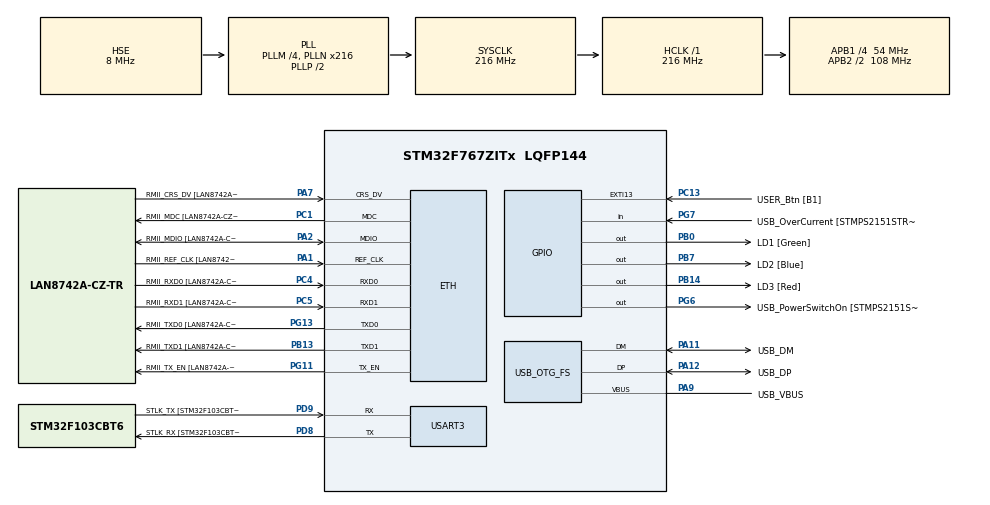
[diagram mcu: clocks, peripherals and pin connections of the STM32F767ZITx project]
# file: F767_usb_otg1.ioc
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ETH.MediaInterface=HAL_ETH_RMII_MODE
ETH.PHY_Name=LAN8742A_PHY_ADDRESS
ETH.PHY_Value=0
ETH.PhyAddress=0
FATFS._MAX_SS=4096
FREERTOS.Tasks01=defaultTask,0,512,StartDefaultTask,Default,NULL,Static,defaultTaskBuffer,defaultTaskControlBlock;myTask02,-3,512,StartTask02,Default,NULL,Static,myTask02Buffer,myTask02ControlBlock
FREERTOS.configUSE_NEWLIB_REENTRANT=1
Mcu.Family=STM32F7
Mcu.Name=STM32F767ZITx
Mcu.Package=LQFP144
NVIC.OTG_FS_IRQn=true\:5\:0\:false\:false\:true\:true\:false\:true\:true
NVIC.PriorityGroup=NVIC_PRIORITYGROUP_4
NVIC.TIM6_DAC_IRQn=true\:15\:0\:false\:false\:true\:false\:false\:true\:true
NVIC.TimeBase=TIM6_DAC_IRQn
NVIC.TimeBaseIP=TIM6
PA1.GPIO_Label=RMII_REF_CLK [LAN8742A-CZ-TR_REFCLK0]
PA1.Mode=RMII
PA1.Signal=ETH_REF_CLK
PA10.GPIO_Label=USB_ID
PA10.Signal=USB_OTG_FS_ID
PA11.GPIO_Label=USB_DM
PA11.Mode=Host_Only
PA11.Signal=USB_OTG_FS_DM
PA12.GPIO_Label=USB_DP
PA12.Mode=Host_Only
PA12.Signal=USB_OTG_FS_DP
PA13.GPIO_Label=TMS
PA13.Mode=Trace_Asynchronous_SW
PA13.Signal=SYS_JTMS-SWDIO
PA14.GPIO_Label=TCK
PA14.Mode=Trace_Asynchronous_SW
PA14.Signal=SYS_JTCK-SWCLK
PA2.GPIO_Label=RMII_MDIO [LAN8742A-CZ-TR_MDIO]
PA2.Mode=RMII
PA2.Signal=ETH_MDIO
PA7.GPIO_Label=RMII_CRS_DV [LAN8742A-CZ-TR_CRS_DV]
PA7.Mode=RMII
PA7.Signal=ETH_CRS_DV
PA8.GPIO_Label=USB_SOF [TP1]
PA8.Signal=USB_OTG_FS_SOF
PA9.GPIO_Label=USB_VBUS
PA9.Mode=Activate_VBUS
PA9.Signal=USB_OTG_FS_VBUS
PB0.GPIO_Label=LD1 [Green]
PB0.Signal=GPIO_Output
PB13.GPIO_Label=RMII_TXD1 [LAN8742A-CZ-TR_TXD1]
PB13.Mode=RMII
PB13.Signal=ETH_TXD1
PB14.GPIO_Label=LD3 [Red]
PB14.Signal=GPIO_Output
PB3.GPIO_Label=SWO
PB3.Mode=Trace_Asynchronous_SW
PB3.Signal=SYS_JTDO-SWO
PB7.GPIO_Label=LD2 [Blue]
PB7.Signal=GPIO_Output
PC1.GPIO_Label=RMII_MDC [LAN8742A-CZ-TR_MDC]
PC1.Mode=RMII
PC1.Signal=ETH_MDC
PC13.GPIO_Label=USER_Btn [B1]
PC13.Signal=GPXTI13
PC14/OSC32_IN.Mode=LSE-External-Oscillator
PC14/OSC32_IN.Signal=RCC_OSC32_IN
PC15/OSC32_OUT.Mode=LSE-External-Oscillator
PC15/OSC32_OUT.Signal=RCC_OSC32_OUT
PC4.GPIO_Label=RMII_RXD0 [LAN8742A-CZ-TR_RXD0]
PC4.Mode=RMII
PC4.Signal=ETH_RXD0
PC5.GPIO_Label=RMII_RXD1 [LAN8742A-CZ-TR_RXD1]
PC5.Mode=RMII
PC5.Signal=ETH_RXD1
PD8.GPIO_Label=STLK_RX [STM32F103CBT6_PA3]
PD8.Mode=Asynchronous
PD8.Signal=USART3_TX
PD9.GPIO_Label=STLK_TX [STM32F103CBT6_PA2]
PD9.Mode=Asynchronous
PD9.Signal=USART3_RX
PG11.GPIO_Label=RMII_TX_EN [LAN8742A-CZ-TR_TXEN]
PG11.Mode=RMII
PG11.Signal=ETH_TX_EN
PG13.GPIO_Label=RMII_TXD0 [LAN8742A-CZ-TR_TXD0]
PG13.Mode=RMII
PG13.Signal=ETH_TXD0
PG6.GPIO_Label=USB_PowerSwitchOn [STMPS2151STR_EN]
PG6.Signal=GPIO_Output
PG7.GPIO_Label=USB_OverCurrent [STMPS2151STR_FAULT]
PG7.Signal=GPIO_Input
PH0/OSC_IN.GPIO_Label=MCO [STM32F103CBT6_PA8]
PH0/OSC_IN.Mode=HSE-External-Oscillator
PH0/OSC_IN.Signal=RCC_OSC_IN
PH1/OSC_OUT.Mode=HSE-External-Oscillator
PH1/OSC_OUT.Signal=RCC_OSC_OUT
ProjectManager.HeapSize=0x200
ProjectManager.StackSize=0x400
ProjectManager.TargetToolchain=STM32CubeIDE
RCC.48MHZClocksFreq_Value=24000000
RCC.AHBFreq_Value=216000000
RCC.APB1CLKDivider=RCC_HCLK_DIV4
RCC.APB1Freq_Value=54000000
RCC.APB1TimFreq_Value=108000000
RCC.APB2CLKDivider=RCC_HCLK_DIV2
RCC.APB2Freq_Value=108000000
RCC.APB2TimFreq_Value=216000000
RCC.CortexFreq_Value=216000000
RCC.HCLKFreq_Value=216000000
RCC.HSE_VALUE=8000000
RCC.HSI_VALUE=16000000
RCC.PLLM=4
RCC.PLLMUL=RCC_PLL_MUL9
RCC.PLLN=216
RCC.PLLQ=9
RCC.PRESCALERUSB=RCC_USBCLKSOURCE_PLL_DIV1_5
RCC.SYSCLKFreq_VALUE=216000000
RCC.SYSCLKSource=RCC_SYSCLKSOURCE_PLLCLK
RCC.SYSCLKSourceVirtual=RCC_SYSCLKSOURCE_PLLCLK
RCC.USBFreq_Value=48000000
RCC.VCOOutputFreq_Value=432000000
USART3.VirtualMode-Asynchronous=VM_ASYNC
USB_HOST.BSP.number=1
USB_HOST.USBH_HandleTypeDef-MSC_FS=hUsbHostFS
USB_HOST.USBH_PROCESS_STACK_SIZE-MSC_FS=8*128
USB_HOST.USBH_USE_OS-MSC_FS=0
USB_HOST.VirtualModeFS=Msc
USB_HOST0.BSP.STBoard=false
USB_HOST0.BSP.api=Unknown
USB_HOST0.BSP.instance=PG6
USB_HOST0.BSP.ip=GPIO
USB_HOST0.BSP.mode=Output
USB_HOST0.BSP.name=Drive_VBUS_FS
USB_HOST0.BSP.solution=PG6
USB_OTG_FS.VirtualMode=Host_Only
USB_OTG_FS.phy_itface=HCD_PHY_EMBEDDED
VP_FATFS_VS_USB.Mode=USB
VP_FREERTOS_VS_CMSIS_V1.Mode=CMSIS_V1
VP_SYS_VS_tim6.Mode=TIM6
VP_USB_HOST_VS_USB_HOST_MSC_FS.Mode=MSC_FS
board=NUCLEO-F767ZI

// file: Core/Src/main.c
/* USER CODE BEGIN Header */
/**
  ******************************************************************************
  * @file           : main.c
  * @brief          : Main program body
  ******************************************************************************
  * @attention
  *
  * Copyright (c) 2023 STMicroelectronics.
  * All rights reserved.
  *
  * This software is licensed under terms that can be found in the LICENSE file
  * in the root directory of this software component.
  * If no LICENSE file comes with this software, it is provided AS-IS.
  *
  ******************************************************************************
  */
/* USER CODE END Header */
#include "main.h"
#include "string.h"
#include "cmsis_os.h"
#include "fatfs.h"
#include "usb_host.h"

/* USER CODE BEGIN Includes */
// новый комментарий
#include "usbh_platform.h"
/* USER CODE END Includes */

#if defined ( __ICCARM__ ) /*!< IAR Compiler */
#pragma location=0x2007c000
ETH_DMADescTypeDef  DMARxDscrTab[ETH_RX_DESC_CNT]; /* Ethernet Rx DMA Descriptors */
#pragma location=0x2007c0a0
ETH_DMADescTypeDef  DMATxDscrTab[ETH_TX_DESC_CNT]; /* Ethernet Tx DMA Descriptors */

#elif defined ( __CC_ARM )  /* MDK ARM Compiler */

__attribute__((at(0x2007c000))) ETH_DMADescTypeDef  DMARxDscrTab[ETH_RX_DESC_CNT]; /* Ethernet Rx DMA Descriptors */
__attribute__((at(0x2007c0a0))) ETH_DMADescTypeDef  DMATxDscrTab[ETH_TX_DESC_CNT]; /* Ethernet Tx DMA Descriptors */

#elif defined ( __GNUC__ ) /* GNU Compiler */
ETH_DMADescTypeDef DMARxDscrTab[ETH_RX_DESC_CNT] __attribute__((section(".RxDecripSection"))); /* Ethernet Rx DMA Descriptors */
ETH_DMADescTypeDef DMATxDscrTab[ETH_TX_DESC_CNT] __attribute__((section(".TxDecripSection")));   /* Ethernet Tx DMA Descriptors */

#endif

ETH_TxPacketConfig TxConfig;

ETH_HandleTypeDef heth;

UART_HandleTypeDef huart3;

osThreadId defaultTaskHandle;
uint32_t defaultTaskBuffer[ 512 ];
osStaticThreadDef_t defaultTaskControlBlock;
osThreadId myTask02Handle;
uint32_t myTask02Buffer[ 512 ];
osStaticThreadDef_t myTask02ControlBlock;
/* USER CODE BEGIN PV */
/******************* For USB *******************************/
extern ApplicationTypeDef Appli_state;
/* USER CODE END PV */

void SystemClock_Config(void);
static void MX_GPIO_Init(void);
static void MX_ETH_Init(void);
static void MX_USART3_UART_Init(void);
void StartDefaultTask(void const * argument);
void StartTask02(void const * argument);

/* USER CODE BEGIN 0 */
#ifdef __GNUC__
/* With GCC/RAISONANCE, small printf (option LD Linker->Libraries->Small printf set to 'Yes') calls __io_putchar() */
#define PUTCHAR_PROTOTYPE int __io_putchar(int ch)
#else
#define PUTCHAR_PROTOTYPE int fputc(int ch, FILE *f)
#endif /* __GNUC__ */
/* USER CODE END 0 */

int main(void)
{

  /* MCU Configuration--------------------------------------------------------*/

  /* Reset of all peripherals, Initializes the Flash interface and the Systick. */
  HAL_Init();

  /* Configure the system clock */
  SystemClock_Config();

  /* Initialize all configured peripherals */
  MX_GPIO_Init();
  MX_ETH_Init();
  MX_USART3_UART_Init();
  //MX_FATFS_Init();
  /* USER CODE BEGIN 2 */
  //MX_DriverVbusFS(0);
  /* USER CODE END 2 */

  /* Create the thread(s) */
  /* definition and creation of defaultTask */
  osThreadStaticDef(defaultTask, StartDefaultTask, osPriorityNormal, 0, 512, defaultTaskBuffer, &defaultTaskControlBlock);
  defaultTaskHandle = osThreadCreate(osThread(defaultTask), NULL);

  /* definition and creation of myTask02 */
  osThreadStaticDef(myTask02, StartTask02, osPriorityIdle, 0, 512, myTask02Buffer, &myTask02ControlBlock);
  myTask02Handle = osThreadCreate(osThread(myTask02), NULL);

  /* Start scheduler */
  osKernelStart();
  /* We should never get here as control is now taken by the scheduler */
  /* Infinite loop */
  while (1)
  {

  }
}

void SystemClock_Config(void)
{
  RCC_OscInitTypeDef RCC_OscInitStruct = {0};
  RCC_ClkInitTypeDef RCC_ClkInitStruct = {0};

  /** Configure LSE Drive Capability
  */
  HAL_PWR_EnableBkUpAccess();

  /** Configure the main internal regulator output voltage
  */
  __HAL_RCC_PWR_CLK_ENABLE();
  __HAL_PWR_VOLTAGESCALING_CONFIG(PWR_REGULATOR_VOLTAGE_SCALE1);

  /** Initializes the RCC Oscillators according to the specified parameters
  * in the RCC_OscInitTypeDef structure.
  */
  RCC_OscInitStruct.OscillatorType = RCC_OSCILLATORTYPE_HSE;
  RCC_OscInitStruct.HSEState = RCC_HSE_ON;
  RCC_OscInitStruct.PLL.PLLState = RCC_PLL_ON;
  RCC_OscInitStruct.PLL.PLLSource = RCC_PLLSOURCE_HSE;
  RCC_OscInitStruct.PLL.PLLM = 4;
  RCC_OscInitStruct.PLL.PLLN = 216;
  RCC_OscInitStruct.PLL.PLLP = RCC_PLLP_DIV2;
  RCC_OscInitStruct.PLL.PLLQ = 9;
  RCC_OscInitStruct.PLL.PLLR = 2;
  if (HAL_RCC_OscConfig(&RCC_OscInitStruct) != HAL_OK)
  {
    Error_Handler();
  }

  /** Activate the Over-Drive mode
  */
  if (HAL_PWREx_EnableOverDrive() != HAL_OK)
  {
    Error_Handler();
  }

  /** Initializes the CPU, AHB and APB buses clocks
  */
  RCC_ClkInitStruct.ClockType = RCC_CLOCKTYPE_HCLK|RCC_CLOCKTYPE_SYSCLK
                              |RCC_CLOCKTYPE_PCLK1|RCC_CLOCKTYPE_PCLK2;
  RCC_ClkInitStruct.SYSCLKSource = RCC_SYSCLKSOURCE_PLLCLK;
  RCC_ClkInitStruct.AHBCLKDivider = RCC_SYSCLK_DIV1;
  RCC_ClkInitStruct.APB1CLKDivider = RCC_HCLK_DIV4;
  RCC_ClkInitStruct.APB2CLKDivider = RCC_HCLK_DIV2;

  if (HAL_RCC_ClockConfig(&RCC_ClkInitStruct, FLASH_LATENCY_7) != HAL_OK)
  {
    Error_Handler();
  }
}

static void MX_ETH_Init(void)
{

   static uint8_t MACAddr[6];

  heth.Instance = ETH;
  MACAddr[0] = 0x00;
  MACAddr[1] = 0x80;
  MACAddr[2] = 0xE1;
  MACAddr[3] = 0x00;
  MACAddr[4] = 0x00;
  MACAddr[5] = 0x00;
  heth.Init.MACAddr = &MACAddr[0];
  heth.Init.MediaInterface = HAL_ETH_RMII_MODE;
  heth.Init.TxDesc = DMATxDscrTab;
  heth.Init.RxDesc = DMARxDscrTab;
  heth.Init.RxBuffLen = 1524;

  if (HAL_ETH_Init(&heth) != HAL_OK)
  {
    Error_Handler();
  }

  memset(&TxConfig, 0 , sizeof(ETH_TxPacketConfig));
  TxConfig.Attributes = ETH_TX_PACKETS_FEATURES_CSUM | ETH_TX_PACKETS_FEATURES_CRCPAD;
  TxConfig.ChecksumCtrl = ETH_CHECKSUM_IPHDR_PAYLOAD_INSERT_PHDR_CALC;
  TxConfig.CRCPadCtrl = ETH_CRC_PAD_INSERT;

}

static void MX_USART3_UART_Init(void)
{

  huart3.Instance = USART3;
  huart3.Init.BaudRate = 115200;
  huart3.Init.WordLength = UART_WORDLENGTH_8B;
  huart3.Init.StopBits = UART_STOPBITS_1;
  huart3.Init.Parity = UART_PARITY_NONE;
  huart3.Init.Mode = UART_MODE_TX_RX;
  huart3.Init.HwFlowCtl = UART_HWCONTROL_NONE;
  huart3.Init.OverSampling = UART_OVERSAMPLING_16;
  huart3.Init.OneBitSampling = UART_ONE_BIT_SAMPLE_DISABLE;
  huart3.AdvancedInit.AdvFeatureInit = UART_ADVFEATURE_NO_INIT;
  if (HAL_UART_Init(&huart3) != HAL_OK)
  {
    Error_Handler();
  }

}

static void MX_GPIO_Init(void)
{
  GPIO_InitTypeDef GPIO_InitStruct = {0};

  /* GPIO Ports Clock Enable */
  __HAL_RCC_GPIOC_CLK_ENABLE();
  __HAL_RCC_GPIOH_CLK_ENABLE();
  __HAL_RCC_GPIOA_CLK_ENABLE();
  __HAL_RCC_GPIOB_CLK_ENABLE();
  __HAL_RCC_GPIOD_CLK_ENABLE();
  __HAL_RCC_GPIOG_CLK_ENABLE();

  /*Configure GPIO pin Output Level */
  HAL_GPIO_WritePin(GPIOB, LD1_Pin|LD3_Pin|LD2_Pin, GPIO_PIN_RESET);

  /*Configure GPIO pin Output Level */
  HAL_GPIO_WritePin(USB_PowerSwitchOn_GPIO_Port, USB_PowerSwitchOn_Pin, GPIO_PIN_RESET);

  /*Configure GPIO pin : USER_Btn_Pin */
  GPIO_InitStruct.Pin = USER_Btn_Pin;
  GPIO_InitStruct.Mode = GPIO_MODE_IT_RISING;
  GPIO_InitStruct.Pull = GPIO_NOPULL;
  HAL_GPIO_Init(USER_Btn_GPIO_Port, &GPIO_InitStruct);

  /*Configure GPIO pins : LD1_Pin LD3_Pin LD2_Pin */
  GPIO_InitStruct.Pin = LD1_Pin|LD3_Pin|LD2_Pin;
  GPIO_InitStruct.Mode = GPIO_MODE_OUTPUT_PP;
  GPIO_InitStruct.Pull = GPIO_NOPULL;
  GPIO_InitStruct.Speed = GPIO_SPEED_FREQ_LOW;
  HAL_GPIO_Init(GPIOB, &GPIO_InitStruct);

  /*Configure GPIO pin : USB_PowerSwitchOn_Pin */
  GPIO_InitStruct.Pin = USB_PowerSwitchOn_Pin;
  GPIO_InitStruct.Mode = GPIO_MODE_OUTPUT_PP;
  GPIO_InitStruct.Pull = GPIO_NOPULL;
  GPIO_InitStruct.Speed = GPIO_SPEED_FREQ_LOW;
  HAL_GPIO_Init(USB_PowerSwitchOn_GPIO_Port, &GPIO_InitStruct);

  /*Configure GPIO pin : USB_OverCurrent_Pin */
  GPIO_InitStruct.Pin = USB_OverCurrent_Pin;
  GPIO_InitStruct.Mode = GPIO_MODE_INPUT;
  GPIO_InitStruct.Pull = GPIO_NOPULL;
  HAL_GPIO_Init(USB_OverCurrent_GPIO_Port, &GPIO_InitStruct);

}

/* USER CODE BEGIN 4 */
PUTCHAR_PROTOTYPE
{
  /* Place your implementation of fputc here */
  /* e.g. write a character to the USART1 and Loop until the end of transmission */

  HAL_UART_Transmit(&huart3, (uint8_t *)&ch, 1, 0xFFFF);

  return ch;
}
/* USER CODE END 4 */

void StartDefaultTask(void const * argument)
{
  /* init code for USB_HOST */

  MX_FATFS_Init();
  //MX_DriverVbusFS(0);
  MX_USB_HOST_Init();
  /* USER CODE BEGIN 5 */
  int usbflag = 1;
  FRESULT fresult;
  FILINFO finfo;
  UINT Byteswritten; // File read/write count
  char tbuf[100] = {0};
  /* Infinite loop */
  for(;;)
  {
	switch (Appli_state) {
		case APPLICATION_READY:
			if(usbflag == 1){
				osDelay(1000);
				printf("APPLICATION_READY! \r\n");

				fresult = f_stat("setings.ini", &finfo);
				if (fresult == FR_OK) {
				    // если файл существует, открываем его для записи в конец файла
				    if (f_open(&USBHFile, (const TCHAR*) "setings.ini", FA_CREATE_ALWAYS | FA_WRITE ) == FR_OK) {
				        // записываем данные в файл
						sprintf(tbuf,"LAN zagotovka, USB task added information to Relays - score000000\r\n"); // данные которые запишем в файл!
						fresult = f_write(&USBHFile, (const void*) tbuf, strlen(tbuf), &Byteswritten);

				    	printf("f_open! setings.ini \r\n");

				        f_close(&USBHFile);
				    }
				} else {
				    // если файл не существует, создаем его и записываем данные
				    if (f_open(&USBHFile, (const TCHAR*) "setings.ini", FA_CREATE_ALWAYS | FA_WRITE) == FR_OK) {
				    	printf("f_open! create setings.ini \r\n");

						sprintf(tbuf,"LAN zagotovka, USB task added +++123454\r\n"); // данные которые запишем в файл!
						fresult = f_write(&USBHFile, (const void*) tbuf, strlen(tbuf), &Byteswritten);

				        f_close(&USBHFile);
				    }
				}

				usbflag = 0;
			}
			break;
		default:
			//printf("Wrong data! \r\n");
			break;
	}
    osDelay(1);
  }
  /* USER CODE END 5 */
}

void StartTask02(void const * argument)
{
  for(;;)
  {
    osDelay(1);
  }
}

void HAL_TIM_PeriodElapsedCallback(TIM_HandleTypeDef *htim)
{
  if (htim->Instance == TIM6) {
    HAL_IncTick();
  }
}

void Error_Handler(void)
{
  __disable_irq();
  while (1)
  {
  }
}
